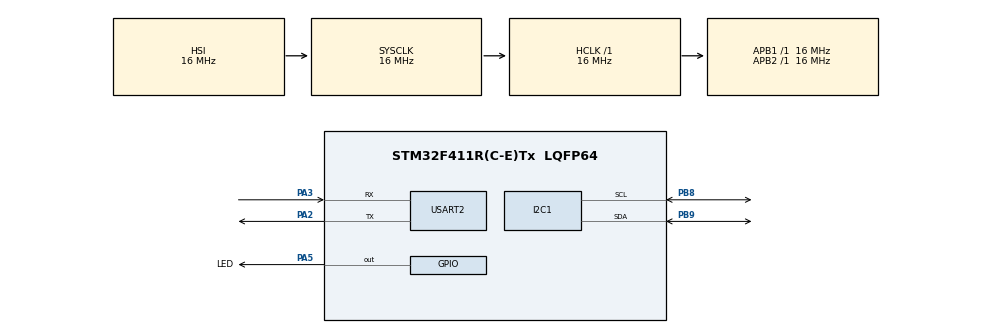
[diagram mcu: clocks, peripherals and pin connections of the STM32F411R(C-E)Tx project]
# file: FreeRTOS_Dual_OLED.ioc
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FREERTOS.Tasks01=Task1,49,128,StartTask1,Default,NULL,Dynamic,NULL,NULL;Task2,50,128,StartTask2,Default,NULL,Dynamic,NULL,NULL
FREERTOS.configUSE_NEWLIB_REENTRANT=1
Mcu.Family=STM32F4
Mcu.Name=STM32F411R(C-E)Tx
Mcu.Package=LQFP64
NVIC.PriorityGroup=NVIC_PRIORITYGROUP_4
NVIC.TIM1_BRK_TIM9_IRQn=true\:15\:0\:false\:false\:true\:false\:false\:true\:true
NVIC.TimeBase=TIM1_BRK_TIM9_IRQn
NVIC.TimeBaseIP=TIM9
PA13.Mode=Trace_Asynchronous_SW
PA13.Signal=SYS_JTMS-SWDIO
PA14.Mode=Trace_Asynchronous_SW
PA14.Signal=SYS_JTCK-SWCLK
PA2.Mode=Asynchronous
PA2.Signal=USART2_TX
PA3.Mode=Asynchronous
PA3.Signal=USART2_RX
PA5.GPIO_Label=LED
PA5.Signal=GPIO_Output
PB3.Mode=Trace_Asynchronous_SW
PB3.Signal=SYS_JTDO-SWO
PB8.Mode=I2C
PB8.Signal=I2C1_SCL
PB9.Mode=I2C
PB9.Signal=I2C1_SDA
ProjectManager.HeapSize=0x200
ProjectManager.StackSize=0x400
ProjectManager.TargetToolchain=STM32CubeIDE
RCC.AHBFreq_Value=16000000
RCC.APB1Freq_Value=16000000
RCC.APB2Freq_Value=16000000
RCC.CortexFreq_Value=16000000
RCC.HSE_VALUE=25000000
RCC.HSI_VALUE=16000000
RCC.LSE_VALUE=32768
RCC.SYSCLKFreq_VALUE=16000000
RCC.VCOOutputFreq_Value=192000000
USART2.VirtualMode=VM_ASYNC
VP_FREERTOS_VS_CMSIS_V2.Mode=CMSIS_V2
VP_SYS_VS_tim9.Mode=TIM9
board=custom

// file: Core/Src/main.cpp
/* USER CODE BEGIN Header */
/**
 ******************************************************************************
 * @file           : main.c
 * @brief          : Main program body
 ******************************************************************************
 * @attention
 *
 * Copyright (c) 2023 STMicroelectronics.
 * All rights reserved.
 *
 * This software is licensed under terms that can be found in the LICENSE file
 * in the root directory of this software component.
 * If no LICENSE file comes with this software, it is provided AS-IS.
 *
 ******************************************************************************
 */
/* USER CODE END Header */
#include "main.h"
#include "cmsis_os.h"

/* USER CODE BEGIN Includes */
#include "stdio.h"
#include "Font.h"
#include <string.h>
#include <stdio.h>
#include <sys/_stdint.h>
/* USER CODE END Includes */

/* USER CODE BEGIN PTD */
#define PUTCHAR_PROTOTYPE int __io_putchar(int ch)

/* USER CODE END PTD */

I2C_HandleTypeDef hi2c1;

UART_HandleTypeDef huart2;

/* Definitions for Task1 */
osThreadId_t Task1Handle;
const osThreadAttr_t Task1_attributes = { .name = "Task1",
		.stack_size = 128 * 4, .priority = (osPriority_t) osPriorityRealtime1, };
/* Definitions for Task2 */
osThreadId_t Task2Handle;
const osThreadAttr_t Task2_attributes = { .name = "Task2",
		.stack_size = 128 * 4, .priority = (osPriority_t) osPriorityRealtime2, };
/* USER CODE BEGIN PV */

#define OLED_I2C_PORT        hi2c1
#define OLED_BUFFER_SIZE   130 * 64 / 8
#define X_OFFSET_LOWER 0
#define X_OFFSET_UPPER 0
#define OLED_WIDTH           130
#define OLED_HEIGHT          64
//#define OLED1_Address 				  0x78 //0x3C << 1 THIS WAS WRONG
#define INCLUDE_FONT_6x8
#define INCLUDE_FONT_7x10
#define INCLUDE_FONT_11x18
#define INCLUDE_FONT_16x26
// Enumeration for screen colors
typedef enum
{
	Black = 0x00, // Black color, no pixel
	White = 0x01  // Pixel is set. Color depends on OLED
} SSD1306_COLOR;

typedef struct
{
		uint8_t FontWidth; /*!< Font width in pixels */
		uint8_t FontHeight; /*!< Font height in pixels */
		const uint16_t *data; /*!< Pointer to data font data array */
} FontDef;

/* USER CODE END PV */

void SystemClock_Config(void);
static void MX_GPIO_Init(void);
static void MX_USART2_UART_Init(void);
static void MX_I2C1_Init(void);
void StartTask1(void *argument);
void StartTask2(void *argument);

/* USER CODE BEGIN PFP */
extern "C" PUTCHAR_PROTOTYPE
{
	HAL_UART_Transmit(&huart2, (uint8_t*) &ch, 1, HAL_MAX_DELAY);
	return ch;
}
/* USER CODE END PFP */

/* USER CODE BEGIN 0 */

uint8_t oled_WriteCommand_status, oled_WriteData_status, oled_status1,
		oled_status2 = 0;
FontDef Font_7x10 = { 7, 10, Font7x10 };

class OLED
{
		// NOTE : All variables accessible to OLED class will be prefixed with an underscore
		//				Example : _I2C_address --> Class variable
		//									I2C_address  --> Regular variable

	private:
		unsigned char _I2C_address;	// Should be accessible to entire OLED class
																// Note, this variable is PRIVATE
		uint16_t CurrentX = 0;
		uint16_t CurrentY = 0;
		uint8_t Initialized = 0;
		unsigned char current_Color = 0;
		uint8_t SSD1306_Buffer[OLED_BUFFER_SIZE];

	public:
		void set_I2C_Address(unsigned char I2C_address)
		{
			_I2C_address = I2C_address << 1;
		}
		unsigned char get_I2C_Address()
		{
			return _I2C_address;
		}

		void oled_WriteCommand(uint8_t incoming_byte)
		{
//			printf("I2C address being used : 0x%.2X || command byte : 0x%.2X \r\n",
//					_I2C_address, incoming_byte);
			// 0x3c --> 0x78
			// 0x3d --> 0x7A

			oled_WriteCommand_status = HAL_I2C_Mem_Write(&OLED_I2C_PORT, _I2C_address,
					0x00, 1, &incoming_byte, 1,
					HAL_MAX_DELAY);

			//printf("oled_WriteCommand_status : %d \r\n", oled_WriteCommand_status);

			if (oled_WriteCommand_status != HAL_OK)
			{
				printf("ERROR TRANSMITTING I2C COMMAND : 0x%.2X  FROM 0x%.2X\r\n",
						incoming_byte, _I2C_address);
				HAL_GPIO_WritePin(GPIOA, LED_Pin, GPIO_PIN_RESET);
			}
		}

		// Send data
		void oled_WriteData(uint8_t *buffer, size_t buff_size)
		{
//			printf("I2C Address : 0x%.2X | Writing : %u | With size : 0x%d \r\n",
//					_I2C_address, buffer, buff_size);
			HAL_I2C_Mem_Write(&hi2c1, _I2C_address, 0x40, 1, buffer, buff_size,
			HAL_MAX_DELAY);

			//printf("oled_WriteData_status : %d \r\n", oled_WriteData_status);

			if (oled_WriteData_status != HAL_OK)
			{
				printf("ERROR WRITING BUFFER : %hhn FOR SIZE : %d\r\n", (buffer),
						buff_size);
				HAL_GPIO_WritePin(GPIOA, LED_Pin, GPIO_PIN_RESET);
			}
		}

		void drawPixel(uint8_t x, uint8_t y, SSD1306_COLOR color)
		{
			if (x >= OLED_WIDTH || y >= OLED_HEIGHT)
			{
				// Don't write outside the buffer
				return;
			}

			// Draw in the right color
			if (color == White)
			{
				SSD1306_Buffer[x + (y / 8) * OLED_WIDTH] |= 1 << (y % 8);

			}
			else
			{
				SSD1306_Buffer[x + (y / 8) * OLED_WIDTH] &= ~(1 << (y % 8));

			}
		}

		char writeChar(char ch, FontDef Font, SSD1306_COLOR color)
		{
			uint32_t i, b, j;
			// Check if character is valid
			if (ch < 32 || ch > 126)
				return 0;

			// Check remaining space on current line
			if (OLED_WIDTH < (CurrentX + Font.FontWidth) ||
			OLED_HEIGHT < (CurrentY + Font.FontHeight))
			{
				// Not enough space on current line
				return 0;
			}

			// This is being skipped since Font Width and Height == 0
			// Use the font to write
			for (i = 0; i < Font.FontHeight; i++)
			{
				b = Font.data[(ch - 32) * Font.FontHeight + i];
				for (j = 0; j < Font.FontWidth; j++)
				{
					if ((b << j) & 0x8000)
					{
						drawPixel(CurrentX + j, (CurrentY + i), (SSD1306_COLOR) color);
					}
					else
					{
						drawPixel(CurrentX + j, (CurrentY + i), (SSD1306_COLOR) !color);
					}
				}
			}

			// The current space is now taken
			CurrentX += Font.FontWidth;

			// Return written char for validation
			return ch;
		}

		char writeString(char *str, FontDef Font, SSD1306_COLOR color)
		{
			// Write until null-byte
			while (*str)
			{
				HAL_GPIO_WritePin(GPIOA, LED_Pin, GPIO_PIN_RESET);
				if (writeChar(*str, Font, color) != *str)
				{
					// Char could not be written
					printf("CHAR COULDN'T BE WRITTEN \r\n");
					return *str;
				}
				str++;
				HAL_GPIO_WritePin(GPIOA, LED_Pin, GPIO_PIN_SET);
			}
			return *str;
		}

		void SetCursor(uint8_t x, uint8_t y)
		{
			CurrentX = x;
			CurrentY = y;
		}

		void fillScreen(SSD1306_COLOR color)
		{
			//Set current color
			set_Color(color);

			/* Set memory */
			uint32_t i;

			for (i = 0; i < sizeof(SSD1306_Buffer); i++)
			{
				SSD1306_Buffer[i] = (color == Black) ? 0x00 : 0xFF;
			}
		}
		void updateScreen()
		{
			// Write data to each page of RAM. Number of pages
			// depends on the screen height:
			//
			//  * 32px   ==  4 pages
			//  * 64px   ==  8 pages
			//  * 128px  ==  16 pages
			for (uint8_t i = 0; i < OLED_HEIGHT / 8; i++)
			{
				// Set the current RAM page address.
				oled_WriteCommand(0xB0 + i);

				// Set column address 4 lower bits
				oled_WriteCommand(0x00 + X_OFFSET_LOWER);

				// Set column address 4 higher bits
				oled_WriteCommand(0x10 + X_OFFSET_UPPER);

				oled_WriteData(&SSD1306_Buffer[OLED_WIDTH * i], OLED_WIDTH);
				//printf("Buffer1 : %c \r\n", SSD1306_Buffer[i]);
			}
		}

		void set_Color(SSD1306_COLOR color)
		{
			current_Color = color;
		}
		void clearScreen()
		{
			for (uint32_t i = 0; i < sizeof(SSD1306_Buffer); i++)
			{
				SSD1306_Buffer[i] = (current_Color == Black) ? 0x00 : 0xFF;
			}
			updateScreen();

		}

};

void init_OLED_Screens(OLED &oled1, OLED &oled2)
{
	// Set display OFF
	oled1.oled_WriteCommand(0xAE);
	oled2.oled_WriteCommand(0xAE);

	// Set Memory Addressing Mode
	oled1.oled_WriteCommand(0x20);
	oled2.oled_WriteCommand(0x20);

	// 00b,Horizontal Addressing Mode; 01b,Vertical Addressing Mode;
	// 10b,Page Addressing Mode (RESET); 11b,Invalid
	oled1.oled_WriteCommand(0x00);
	oled2.oled_WriteCommand(0x00);

	// Set Page Start Address for Page Addressing Mode,0-7
	oled1.oled_WriteCommand(0xB0);
	oled2.oled_WriteCommand(0xB0);

	// Set COM Output Scan Direction
	oled1.oled_WriteCommand(0xC8);
	oled2.oled_WriteCommand(0xC8);

	//---set low column address
	oled1.oled_WriteCommand(0x00);
	oled2.oled_WriteCommand(0x00);

	//---set high column address
	oled1.oled_WriteCommand(0x10);
	oled2.oled_WriteCommand(0x10);

	//--set start line address - CHECK
	oled1.oled_WriteCommand(0x40);
	oled2.oled_WriteCommand(0x40);

//	const uint8_t kSetContrastControlRegister = 0x81;
//	oled1.oled_WriteCommand(kSetContrastControlRegister);
//	oled2.oled_WriteCommand(kSetContrastControlRegister);

	//const uint16_t = 0xFF;
	oled1.oled_WriteCommand(0xFF);
	oled2.oled_WriteCommand(0xFF);

	//--set segment re-map 0 to 127 - CHECK
	oled1.oled_WriteCommand(0xA1);
	oled2.oled_WriteCommand(0xA1);

	//--set normal color
	oled1.oled_WriteCommand(0xA6);
	oled2.oled_WriteCommand(0xA6);

	//ssd1306_WriteCommand(0xA8); //--set multiplex ratio(1 to 64) - CHECK
	//--set multiplex ratio(1 to 64) - CHECK
	oled1.oled_WriteCommand(0xA8);
	oled2.oled_WriteCommand(0xA8);

	// Set multiplex ratio. 128 x 64
//	oled1.oled_WriteCommand(0xFF);
//	oled2.oled_WriteCommand(0xFF);
	oled1.oled_WriteCommand(0x3F);
	oled2.oled_WriteCommand(0x3F);

	//0xa4,Output follows RAM content;0xa5,Output ignores RAM content
	oled1.oled_WriteCommand(0xA4);
	oled2.oled_WriteCommand(0xA4);

	//-set display offset - CHECK
	oled1.oled_WriteCommand(0xD3);
	oled2.oled_WriteCommand(0xD3);

	//-not offset
	oled1.oled_WriteCommand(0x00);
	oled2.oled_WriteCommand(0x00);

	//--set display clock divide ratio/oscillator frequency
	oled1.oled_WriteCommand(0xD5);
	oled2.oled_WriteCommand(0xD5);

	//--set divide ratio
	oled1.oled_WriteCommand(0xF0);
	oled2.oled_WriteCommand(0xF0);

	//--set pre-charge period
	oled1.oled_WriteCommand(0xD9);
	oled2.oled_WriteCommand(0xD9);
	oled1.oled_WriteCommand(0x22);
	oled2.oled_WriteCommand(0x22);

	//--set com pins hardware configuration - CHECK
	oled1.oled_WriteCommand(0xDA);
	oled2.oled_WriteCommand(0xDA);
	oled1.oled_WriteCommand(0x12);
	oled2.oled_WriteCommand(0x12);

	//--set vcomh
	oled1.oled_WriteCommand(0xDB);
	oled2.oled_WriteCommand(0xDB);

	//0x20,0.77xVcc
	oled1.oled_WriteCommand(0x20);
	oled2.oled_WriteCommand(0x20);

	//--set DC-DC enable
	oled1.oled_WriteCommand(0x8D);
	oled2.oled_WriteCommand(0x8D);
	//
	oled1.oled_WriteCommand(0x14);
	oled2.oled_WriteCommand(0x14);

	//--turn on SSD1306 panel
	oled1.oled_WriteCommand(0xAF);
	oled2.oled_WriteCommand(0xAF);
}

// Has to be declared globally to get used in multi-threaded RTOS tasks
OLED oled1;
OLED oled2;

/* USER CODE END 0 */

int main(void)
{
	/* USER CODE BEGIN 1 */

	// This doesn't work for some reason
	printf("Initializing OLED Screens...\r\n");
	/* USER CODE END 1 */

	/* MCU Configuration--------------------------------------------------------*/

	/* Reset of all peripherals, Initializes the Flash interface and the Systick. */
	HAL_Init();

	/* USER CODE BEGIN Init */
	// This doesn't work for some reason
	printf("Test2\r\n");

	/* USER CODE END Init */

	/* Configure the system clock */
	SystemClock_Config();

	/* Initialize all configured peripherals */
	MX_GPIO_Init();
	MX_USART2_UART_Init();
	MX_I2C1_Init();
	/* USER CODE BEGIN 2 */
	//printf("Test3\r\n");
	printf("Initializing OLED Screens...\r\n");

	oled1.set_I2C_Address(0x3C);
	oled2.set_I2C_Address(0x3D);

	oled_status1 = HAL_I2C_IsDeviceReady(&hi2c1, oled1.get_I2C_Address(), 3, 5);
	oled_status2 = HAL_I2C_IsDeviceReady(&hi2c1, oled2.get_I2C_Address(), 3, 5);

	if (oled_status1 != HAL_OK && oled_status2 != HAL_OK)
	{
		// If error persists after uploading correct I2C address
		// Power cycle the stm32 board
		printf("ERROR WITH I2C CONNECTION \r\n");
		printf("IF THE PROBLEM IS PERSISTANT, POWER CYCLE YOUR DEVICE\r\n");

		Error_Handler();
	}

	HAL_GPIO_WritePin(GPIOA, LED_Pin, GPIO_PIN_SET);
	printf("PROGRAM STARTED\r\n");

	init_OLED_Screens(oled1, oled2);

	oled1.fillScreen(White);
	oled2.fillScreen(Black);

	oled1.SetCursor(30, 1);
	oled2.SetCursor(30, 1);

	char text1_[] = "TESTING OLED";
	char text2_[] = "TESTING OLED";

	oled1.writeString(text1_, Font_7x10, Black);
	oled2.writeString(text2_, Font_7x10, White);

	oled1.SetCursor(30, 30);
	oled2.SetCursor(30, 30);

	char text1__[] = "SCREEN 1";
	char text2__[] = "SCREEN 2";

	oled1.writeString(text1__, Font_7x10, Black);
	oled2.writeString(text2__, Font_7x10, White);

	oled1.updateScreen();
	oled2.updateScreen();

	oled1.SetCursor(30, 50);
	oled2.SetCursor(30, 50);

	printf("Multi-threading flag \r\n");

	HAL_Delay(2000);

	Task1Handle = osThreadNew(StartTask1, NULL, &Task1_attributes);
	Task2Handle = osThreadNew(StartTask2, NULL, &Task2_attributes);
	/* USER CODE END 2 */

	/* Init scheduler */
	osKernelInitialize();
	/* USER CODE BEGIN Header */
	/**
	 ******************************************************************************
	 * @file           : main.c
	 * @brief          : Main program body
	 ******************************************************************************
	 * @attention
	 *
	 * Copyright (c) 2023 STMicroelectronics.
	 * All rights reserved.
	 *
	 * This software is licensed under terms that can be found in the LICENSE file
	 * in the root directory of this software component.
	 * If no LICENSE file comes with this software, it is provided AS-IS.
	 *
	 ******************************************************************************
	 */
	/* USER CODE END Header */
	/**
	 * @}
	 */
	/**
	 * @}
	 */

	/* Start scheduler */
	osKernelStart();

	/* We should never get here as control is now taken by the scheduler */
	/* Infinite loop */
	/* USER CODE BEGIN WHILE */
	while (1)
	{
		// Don't code anything here
		/* USER CODE END WHILE */

	}
}

void SystemClock_Config(void)
{
	RCC_OscInitTypeDef RCC_OscInitStruct = { 0 };
	RCC_ClkInitTypeDef RCC_ClkInitStruct = { 0 };

	/** Configure the main internal regulator output voltage
	 */
	__HAL_RCC_PWR_CLK_ENABLE();
	__HAL_PWR_VOLTAGESCALING_CONFIG(PWR_REGULATOR_VOLTAGE_SCALE1);

	/** Initializes the RCC Oscillators according to the specified parameters
	 * in the RCC_OscInitTypeDef structure.
	 */
	RCC_OscInitStruct.OscillatorType = RCC_OSCILLATORTYPE_HSI;
	RCC_OscInitStruct.HSIState = RCC_HSI_ON;
	RCC_OscInitStruct.HSICalibrationValue = RCC_HSICALIBRATION_DEFAULT;
	RCC_OscInitStruct.PLL.PLLState = RCC_PLL_NONE;
	if (HAL_RCC_OscConfig(&RCC_OscInitStruct) != HAL_OK)
	{
		Error_Handler();
	}

	/** Initializes the CPU, AHB and APB buses clocks
	 */
	RCC_ClkInitStruct.ClockType = RCC_CLOCKTYPE_HCLK | RCC_CLOCKTYPE_SYSCLK
			| RCC_CLOCKTYPE_PCLK1 | RCC_CLOCKTYPE_PCLK2;
	RCC_ClkInitStruct.SYSCLKSource = RCC_SYSCLKSOURCE_HSI;
	RCC_ClkInitStruct.AHBCLKDivider = RCC_SYSCLK_DIV1;
	RCC_ClkInitStruct.APB1CLKDivider = RCC_HCLK_DIV1;
	RCC_ClkInitStruct.APB2CLKDivider = RCC_HCLK_DIV1;

	if (HAL_RCC_ClockConfig(&RCC_ClkInitStruct, FLASH_LATENCY_0) != HAL_OK)
	{
		Error_Handler();
	}
}

static void MX_I2C1_Init(void)
{

	hi2c1.Instance = I2C1;
	hi2c1.Init.ClockSpeed = 100000;
	hi2c1.Init.DutyCycle = I2C_DUTYCYCLE_2;
	hi2c1.Init.OwnAddress1 = 0;
	hi2c1.Init.AddressingMode = I2C_ADDRESSINGMODE_7BIT;
	hi2c1.Init.DualAddressMode = I2C_DUALADDRESS_DISABLE;
	hi2c1.Init.OwnAddress2 = 0;
	hi2c1.Init.GeneralCallMode = I2C_GENERALCALL_DISABLE;
	hi2c1.Init.NoStretchMode = I2C_NOSTRETCH_DISABLE;
	if (HAL_I2C_Init(&hi2c1) != HAL_OK)
	{
		Error_Handler();
	}

}

static void MX_USART2_UART_Init(void)
{

	huart2.Instance = USART2;
	huart2.Init.BaudRate = 115200;
	huart2.Init.WordLength = UART_WORDLENGTH_8B;
	huart2.Init.StopBits = UART_STOPBITS_1;
	huart2.Init.Parity = UART_PARITY_NONE;
	huart2.Init.Mode = UART_MODE_TX_RX;
	huart2.Init.HwFlowCtl = UART_HWCONTROL_NONE;
	huart2.Init.OverSampling = UART_OVERSAMPLING_16;
	if (HAL_UART_Init(&huart2) != HAL_OK)
	{
		Error_Handler();
	}

}

static void MX_GPIO_Init(void)
{
	GPIO_InitTypeDef GPIO_InitStruct = { 0 };

	/* GPIO Ports Clock Enable */
	__HAL_RCC_GPIOA_CLK_ENABLE();
	__HAL_RCC_GPIOB_CLK_ENABLE();

	/*Configure GPIO pin Output Level */
	HAL_GPIO_WritePin(LED_GPIO_Port, LED_Pin, GPIO_PIN_RESET);

	/*Configure GPIO pin : LED_Pin */
	GPIO_InitStruct.Pin = LED_Pin;
	GPIO_InitStruct.Mode = GPIO_MODE_OUTPUT_PP;
	GPIO_InitStruct.Pull = GPIO_NOPULL;
	GPIO_InitStruct.Speed = GPIO_SPEED_FREQ_LOW;
	HAL_GPIO_Init(LED_GPIO_Port, &GPIO_InitStruct);

}

void StartTask1(void *argument)
{
	/* USER CODE BEGIN 5 */
	int count_1 = 1;
	char count_1_array[100];
	oled1.fillScreen(White);
	/* Infinite loop */

	// SCREEN ONE STUFF
	for (;;)
	{
		//oled1.fillScreen(White);
		oled1.SetCursor(30, 50);

		// int snprintf ( char * s, size_t n, const char * format, ... );
		// Parameters [ where it's stored , number of bytes , format , variable to be stored ]
		count_1++;

		// snprintf() needs to be used for displaying integer values since writeString() takes a char pointer
		// More details about arrays vs char pointers can be found here : https://www.youtube.com/watch?v=Qp3WatLL_Hc&ab_channel=PortfolioCourses
		snprintf(count_1_array, 100, "%d", count_1);
		oled1.writeString(count_1_array, Font_7x10, Black);
		oled1.updateScreen();
		osDelay(250);
	}
	osThreadTerminate(NULL);
	/* USER CODE END 5 */
}

void StartTask2(void *argument)
{
	/* USER CODE BEGIN StartTask2 */
	int count_2 = 13;
	char count_2_array[100];
	oled2.fillScreen(Black);
	/* Infinite loop */
	for (;;)
	{
		oled2.SetCursor(30, 50);
		count_2 += 5;
		snprintf(count_2_array, 100, "%d", count_2);
		oled2.writeString(count_2_array, Font_7x10, White);
		oled2.updateScreen();
		osDelay(100);
	}
	osThreadTerminate(NULL);

	/* USER CODE END StartTask2 */
}

void HAL_TIM_PeriodElapsedCallback(TIM_HandleTypeDef *htim)
{
	if (htim->Instance == TIM9)
	{
		HAL_IncTick();
	}
}

void Error_Handler(void)
{
	__disable_irq();
	while (1)
	{
	}
}
